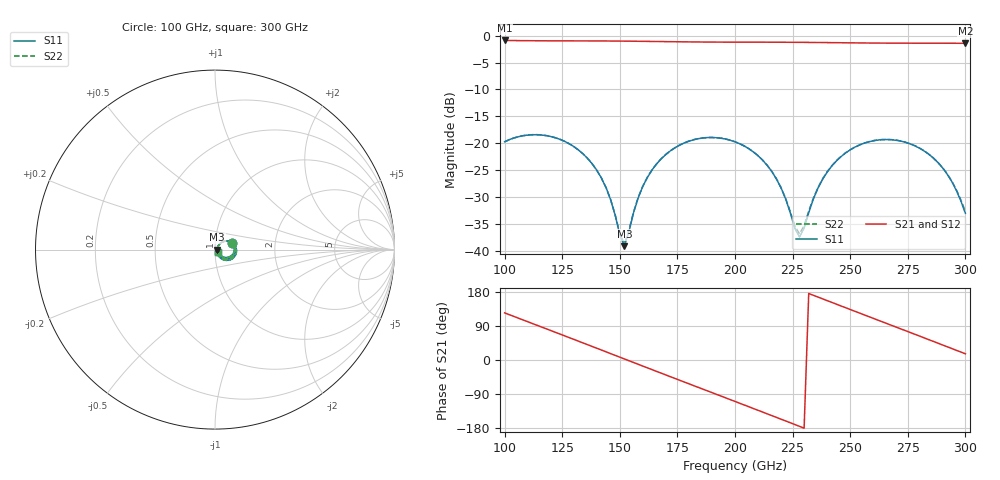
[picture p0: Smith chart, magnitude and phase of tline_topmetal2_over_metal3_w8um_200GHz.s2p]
#  GHZ S DB R 50
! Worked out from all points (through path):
!   101 points, 100 GHz to 300 GHz, reference 50 ohm
!   highest |S21| = -0.89 dB at 100 GHz (marker M1); lowest = -1.4 dB at 300 GHz (marker M2)
!   group delay of S21, straight-line fit = 6.5 ps
!   lowest |S11| = -39.1 dB at 152 GHz (marker M3), VSWR 1.02, Z = 51.1 - j0.0133 ohm
!   |S11| at or under -10 dB: start of sweep to end of sweep
!   |S22| runs from -38.7 to -18.4 dB; largest |S21 - S12| = 1e-14
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100  -19.73 21.7  -0.89 124.3  -0.89 124.3  -19.72 21.4
116  -18.46 -11.3  -0.95 87.2  -0.95 87.2  -18.46 -11.5
124  -19.27 -27.8  -0.96 68.5  -0.96 68.5  -19.27 -27.9
134  -21.96 -47.4  -0.97 45.1  -0.97 45.1  -21.95 -47.4
144  -28.24 -60.8  -0.99 21.6  -0.99 21.6  -28.21 -60.3
152  -39.13 -0.7  -1.01 2.8  -1.01 2.8  -38.70 -0.7
160  -28.01 51.2  -1.05 -16.1  -1.05 -16.1  -27.95 50.2
168  -22.88 41.0  -1.09 -34.8  -1.09 -34.8  -22.86 40.3
184  -19.16 9.9  -1.17 -72.1  -1.17 -72.1  -19.14 9.5
200  -19.73 -22.6  -1.20 -109.3  -1.20 -109.3  -19.72 -22.8
216  -25.28 -50.4  -1.21 -146.8  -1.21 -146.8  -25.25 -50.0
220  -28.33 -52.9  -1.22 -156.2  -1.22 -156.2  -28.27 -52.1
228  -37.43 -0.5  -1.24 -175.1  -1.24 -175.1  -36.84 -0.6
234  -30.38 49.5  -1.26 170.8  -1.26 170.8  -30.23 47.6
240  -25.37 48.4  -1.28 156.7  -1.28 156.7  -25.31 47.0
248  -21.80 36.1  -1.32 138.0  -1.32 138.0  -21.77 35.0
258  -19.74 17.0  -1.36 114.6  -1.36 114.6  -19.72 16.2
268  -19.35 -2.9  -1.39 91.3  -1.39 91.3  -19.33 -3.6
278  -20.46 -22.5  -1.40 68.0  -1.40 68.0  -20.45 -23.0
288  -23.55 -39.8  -1.40 44.6  -1.40 44.6  -23.52 -39.9
294  -27.05 -45.9  -1.41 30.5  -1.41 30.5  -26.98 -45.4
300  -33.04 -35.5  -1.41 16.3  -1.41 16.3  -32.73 -34.0
